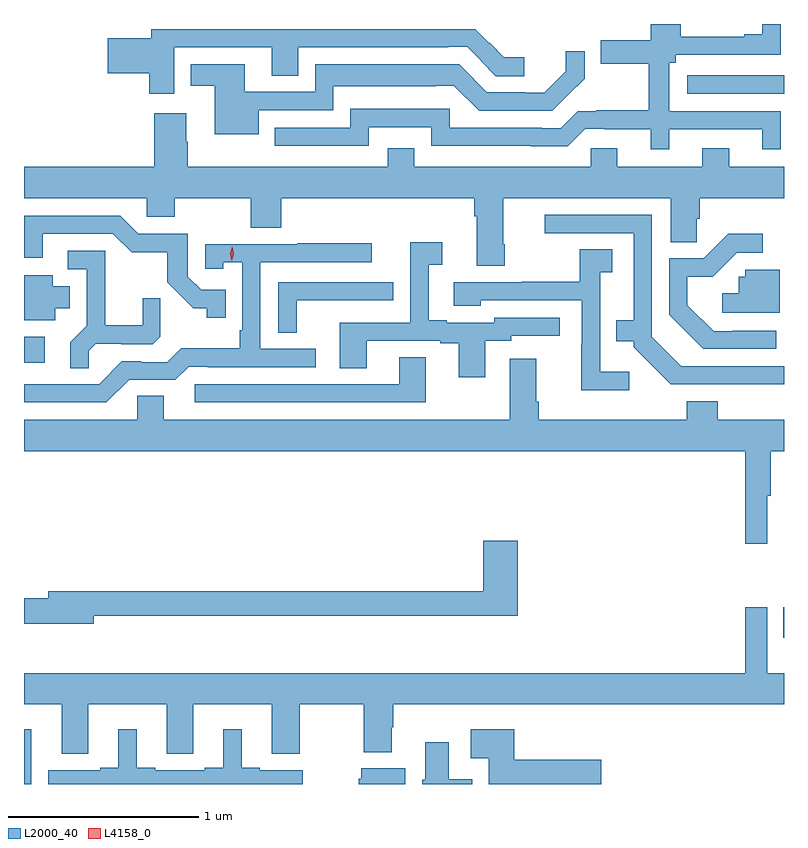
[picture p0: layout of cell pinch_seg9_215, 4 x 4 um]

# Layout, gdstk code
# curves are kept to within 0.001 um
import gdstk
lib = gdstk.Library(unit=1e-6, precision=1e-09)
def R(c, l, rs):  # rectangles x0, y0, x1, y1
    for r in rs: c.add(gdstk.rectangle(r[:2], r[2:], *l))
def P(c, l, *ps):  # polygons
    for p in ps: c.add(gdstk.Polygon(p, *l))
L2000_40 = (2000, 40)
L4158_0 = (4158, 0)

pinch_seg9_215 = lib.new_cell('pinch_seg9_215')
R(pinch_seg9_215, L2000_40, [(615.574,1234.628,615.612,1234.915), (619.57,1235.399,619.574,1235.557), (615.574,1236.845,615.682,1236.981), (619.065,1238.262,619.574,1238.358)])
P(pinch_seg9_215, L2000_40, [(618.97,1238.073),(619.46,1238.073),(619.46,1237.968),(619.558,1237.968),(619.558,1238.169),(618.969,1238.169),(618.969,1238.424),(619.004,1238.424),(619.004,1238.466),(619.558,1238.466),(619.558,1238.628),(619.46,1238.628),(619.46,1238.575),(619.364,1238.575),(619.364,1238.562),(619.03,1238.562),(619.03,1238.628),(618.873,1238.628),(618.873,1238.542),(618.61,1238.542),(618.61,1238.42),(618.861,1238.42),(618.861,1238.174),(618.586,1238.174),(618.586,1238.169),(618.489,1238.169),(618.399,1238.079),(618.299,1238.079),(618.299,1238.082),(617.814,1238.082),(617.814,1238.181),(617.292,1238.181),(617.292,1238.082),(616.895,1238.082),(616.895,1237.986),(617.388,1237.986),(617.388,1238.085),(617.718,1238.085),(617.718,1237.986),(618.437,1237.985),(618.528,1238.076),(618.628,1238.076),(618.628,1238.073),(618.872,1238.073),(618.872,1237.968),(618.97,1237.968)],
  [(616.366,1238.505),(616.877,1238.505),(616.877,1238.356),(617.017,1238.356),(617.017,1238.505),(617.807,1238.505),(617.807,1238.508),(617.907,1238.508),(617.979,1238.436),(617.977,1238.434),(618.058,1238.353),(618.208,1238.353),(618.208,1238.454),(618.1,1238.454),(618.025,1238.53),(618.023,1238.528),(617.95,1238.601),(616.244,1238.601),(616.244,1238.552),(616.014,1238.552),(616.014,1238.369),(616.232,1238.369),(616.232,1238.262),(616.366,1238.262)],
  [(616.81,1238.175),(617.202,1238.175),(617.202,1238.3),(617.741,1238.3),(617.741,1238.304),(617.837,1238.304),(617.969,1238.172),(618.355,1238.172),(618.525,1238.34),(618.525,1238.485),(618.425,1238.485),(618.425,1238.379),(618.311,1238.265),(618.212,1238.265),(618.212,1238.268),(618.009,1238.268),(617.939,1238.339),(617.941,1238.341),(617.866,1238.415),(617.765,1238.416),(617.106,1238.416),(617.106,1238.271),(616.735,1238.271),(616.735,1238.416),(616.451,1238.416),(616.451,1238.302),(616.577,1238.302),(616.577,1238.048),(616.81,1238.048)],
  [(618.105,1237.468),(618.097,1237.468),(618.097,1237.712),(618.977,1237.712),(618.977,1237.48),(619.115,1237.48),(619.115,1237.602),(619.13,1237.602),(619.13,1237.712),(619.574,1237.712),(619.574,1237.876),(619.285,1237.876),(619.285,1237.975),(619.145,1237.975),(619.145,1237.876),(618.697,1237.876),(618.697,1237.974),(618.558,1237.974),(618.558,1237.876),(617.629,1237.876),(617.629,1237.975),(617.489,1237.975),(617.489,1237.876),(616.437,1237.876),(616.437,1238.009),(616.429,1238.009),(616.429,1238.158),(616.259,1238.158),(616.259,1237.876),(615.574,1237.876),(615.574,1237.712),(616.221,1237.712),(616.221,1237.614),(616.368,1237.614),(616.368,1237.712),(616.768,1237.712),(616.768,1237.555),(616.928,1237.555),(616.928,1237.712),(617.945,1237.712),(617.945,1237.616),(617.957,1237.616),(617.957,1237.356),(618.105,1237.356)],
  [(619.574,1236.828),(619.032,1236.828),(618.879,1236.981),(618.879,1237.623),(618.315,1237.623),(618.315,1237.527),(618.782,1237.527),(618.782,1237.069),(618.691,1237.069),(618.691,1236.959),(618.783,1236.959),(618.783,1236.927),(618.978,1236.732),(619.574,1236.731)],
  [(616.637,1237.23),(616.506,1237.23),(616.437,1237.299),(616.437,1237.524),(616.176,1237.524),(616.08,1237.62),(615.575,1237.62),(615.574,1237.398),(615.673,1237.398),(615.673,1237.524),(616.041,1237.524),(616.14,1237.426),(616.329,1237.426),(616.329,1237.27),(616.466,1237.133),(616.536,1237.133),(616.536,1237.083),(616.637,1237.083)],
  [(619.534,1237.014),(619.303,1237.014),(619.303,1237.011),(619.203,1237.011),(619.066,1237.148),(619.066,1237.298),(619.199,1237.298),(619.326,1237.425),(619.462,1237.425),(619.462,1237.523),(619.28,1237.523),(619.152,1237.395),(618.969,1237.395),(618.969,1237.097),(619.148,1236.918),(619.534,1236.918)],
  [(618.001,1236.96),(618.138,1236.96),(618.138,1236.987),(618.394,1236.987),(618.394,1237.083),(618.048,1237.083),(618.048,1237.056),(617.8,1237.056),(617.8,1237.069),(617.704,1237.069),(617.704,1237.36),(617.776,1237.36),(617.776,1237.48),(617.607,1237.48),(617.607,1237.056),(617.237,1237.056),(617.237,1236.817),(617.377,1236.817),(617.377,1236.96),(617.765,1236.96),(617.765,1236.948),(617.861,1236.948),(617.861,1236.768),(618.001,1236.768)],
  [(616.128,1236.756),(616.371,1236.756),(616.44,1236.825),(616.54,1236.825),(616.54,1236.822),(617.11,1236.822),(617.11,1236.918),(616.818,1236.918),(616.818,1237.374),(617.404,1237.374),(617.404,1237.473),(617.011,1237.473),(617.011,1237.47),(616.527,1237.47),(616.527,1237.341),(616.623,1237.341),(616.623,1237.373),(616.722,1237.373),(616.722,1237.015),(616.71,1237.015),(616.71,1236.922),(616.402,1236.922),(616.329,1236.849),(616.19,1236.849),(616.19,1236.852),(616.089,1236.852),(615.969,1236.732),(615.574,1236.732),(615.574,1236.636),(616.008,1236.636)],
  [(618.76,1236.799),(618.606,1236.799),(618.606,1237.321),(618.67,1237.321),(618.67,1237.442),(618.498,1237.442),(618.498,1237.272),(618.193,1237.272),(618.193,1237.269),(617.835,1237.269),(617.835,1237.145),(617.979,1237.145),(617.979,1237.173),(618.51,1237.173),(618.51,1236.941),(618.508,1236.941),(618.508,1236.701),(618.76,1236.701)],
  [(615.915,1236.908),(615.952,1236.945),(616.086,1236.945),(616.086,1236.942),(616.251,1236.942),(616.292,1236.983),(616.292,1237.185),(616.198,1237.185),(616.198,1237.042),(616.001,1237.042),(616.001,1237.434),(615.804,1237.434),(615.804,1237.338),(615.903,1237.338),(615.903,1237.039),(615.817,1236.953),(615.817,1236.817),(615.915,1236.817)],
  [(619.552,1237.335),(619.371,1237.335),(619.371,1237.299),(619.335,1237.299),(619.335,1237.21),(619.248,1237.21),(619.248,1237.107),(619.552,1237.107)],
  [(615.739,1237.133),(615.814,1237.133),(615.814,1237.249),(615.724,1237.249),(615.724,1237.306),(615.574,1237.306),(615.574,1237.07),(615.739,1237.07)],
  [(617.01,1237.173),(617.405,1237.173),(617.405,1237.174),(617.518,1237.174),(617.518,1237.269),(616.911,1237.269),(616.911,1237.003),(617.01,1237.003)],
  [(617.689,1236.875),(617.549,1236.875),(617.549,1236.732),(616.473,1236.732),(616.473,1236.636),(617.689,1236.636)],
  [(619.487,1236.144),(619.505,1236.144),(619.505,1236.38),(619.574,1236.38),(619.574,1236.544),(619.226,1236.544),(619.226,1236.643),(619.061,1236.643),(619.061,1236.544),(618.284,1236.544),(618.284,1236.64),(618.271,1236.64),(618.271,1236.865),(618.131,1236.865),(618.131,1236.544),(616.309,1236.544),(616.309,1236.671),(616.17,1236.671),(616.17,1236.544),(615.574,1236.544),(615.574,1236.38),(619.369,1236.38),(619.369,1235.892),(619.487,1235.892)],
  [(615.94,1235.514),(618.173,1235.514),(618.173,1235.908),(617.99,1235.908),(617.99,1235.642),(615.701,1235.642),(615.701,1235.606),(615.574,1235.606),(615.574,1235.471),(615.94,1235.471)],
  [(615.913,1235.048),(616.325,1235.048),(616.325,1234.786),(616.465,1234.786),(616.465,1235.048),(616.877,1235.048),(616.877,1234.786),(617.025,1234.786),(617.025,1235.048),(617.362,1235.048),(617.362,1234.796),(617.509,1234.796),(617.509,1234.928),(617.517,1234.928),(617.517,1235.048),(619.574,1235.048),(619.574,1235.212),(619.485,1235.212),(619.485,1235.557),(619.369,1235.557),(619.369,1235.212),(615.574,1235.212),(615.574,1235.048),(615.773,1235.048),(615.773,1234.786),(615.913,1234.786)],
  [(618.613,1234.755),(618.155,1234.755),(618.155,1234.915),(617.925,1234.915),(617.925,1234.763),(618.02,1234.763),(618.02,1234.628),(618.613,1234.628)],
  [(617.042,1234.701),(616.816,1234.701),(616.816,1234.714),(616.72,1234.714),(616.72,1234.915),(616.622,1234.915),(616.622,1234.714),(616.526,1234.714),(616.526,1234.701),(616.264,1234.701),(616.264,1234.714),(616.168,1234.714),(616.168,1234.915),(616.07,1234.915),(616.07,1234.714),(615.974,1234.714),(615.974,1234.701),(615.702,1234.701),(615.702,1234.628),(617.042,1234.628)],
  [(617.932,1234.654),(617.809,1234.654),(617.809,1234.849),(617.687,1234.849),(617.687,1234.65),(617.669,1234.65),(617.669,1234.628),(617.932,1234.628)],
  [(617.581,1234.711),(617.348,1234.711),(617.348,1234.656),(617.336,1234.656),(617.336,1234.628),(617.581,1234.628)])
P(pinch_seg9_215, L4158_0, [(616.667,1237.383),(616.667,1237.383),(616.659,1237.419),(616.67,1237.455),(616.67,1237.455),(616.67,1237.455),(616.679,1237.418),(616.668,1237.383)])

lib.write_gds('pinch_seg9_215.gds')
